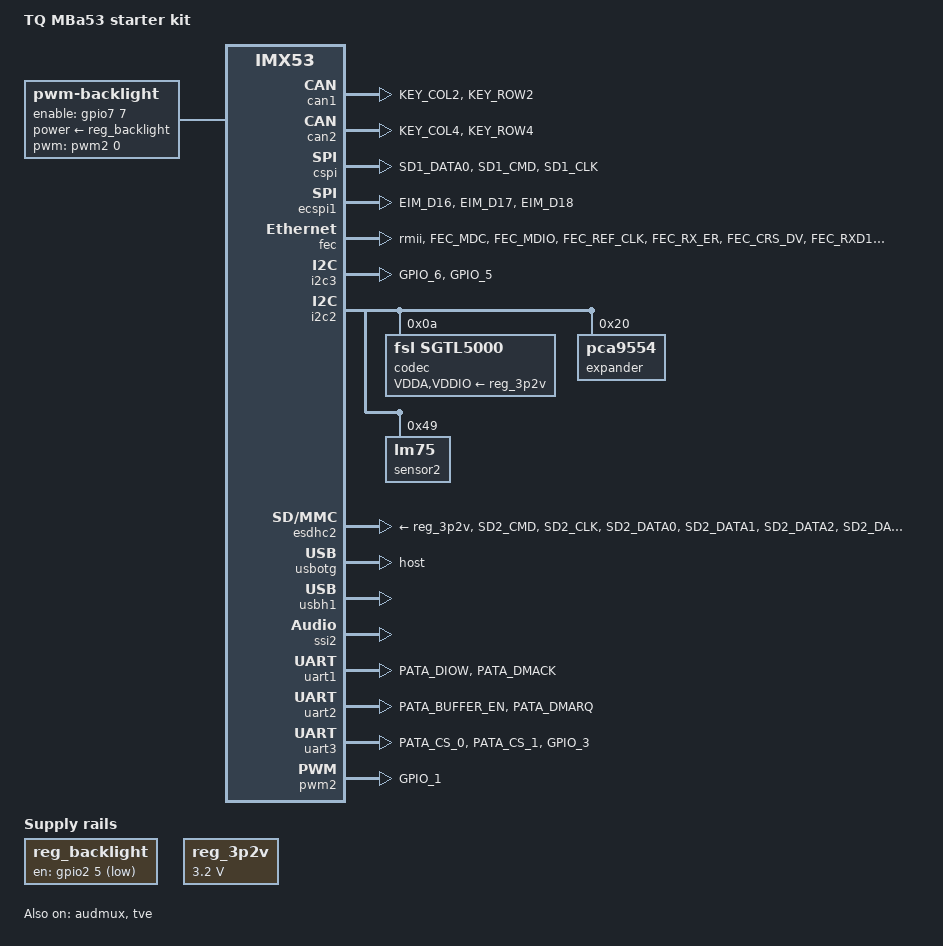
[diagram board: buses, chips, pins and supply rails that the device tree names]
/*
 * Copyright 2012 Sascha Hauer <s.hauer@pengutronix.de>, Pengutronix
 * Copyright 2012 Steffen Trumtrar <s.trumtrar@pengutronix.de>, Pengutronix
 *
 * The code contained herein is licensed under the GNU General Public
 * License. You may obtain a copy of the GNU General Public License
 * Version 2 or later at the following locations:
 *
 * http://www.opensource.org/licenses/gpl-license.html
 * http://www.gnu.org/copyleft/gpl.html
 */

/dts-v1/;
#include "imx53-tqma53.dtsi"

/ {
	model = "TQ MBa53 starter kit";
	compatible = "tq,mba53", "tq,tqma53", "fsl,imx53";

	aliases {
		mmc0 = &esdhc3; /* eMMC */
		mmc1 = &esdhc2; /* SD */
	};

	chosen {
		stdout-path = &uart2;
	};

	backlight {
		compatible = "pwm-backlight";
		pwms = <&pwm2 0 50000>;
		brightness-levels = <0 24 28 32 36 40 44 48 52 56 60 64 68 72 76 80 84 88 92 96 100>;
		default-brightness-level = <10>;
		enable-gpios = <&gpio7 7 0>;
		power-supply = <&reg_backlight>;
	};

	disp1: display@disp1 {
		compatible = "fsl,imx-parallel-display";
		pinctrl-names = "default";
		pinctrl-0 = <&pinctrl_disp1_1>;
		interface-pix-fmt = "rgb24";
		status = "disabled";

		port {
			display1_in: endpoint {
				remote-endpoint = <&ipu_di1_disp1>;
			};
		};
	};

	regulators {
		compatible = "simple-bus";
		#address-cells = <1>;
		#size-cells = <0>;

		reg_backlight: regulator@0 {
			compatible = "regulator-fixed";
			reg = <0>;
			regulator-name = "lcd-supply";
			gpio = <&gpio2 5 0>;
			startup-delay-us = <5000>;
		};

		reg_3p2v: regulator@1 {
			compatible = "regulator-fixed";
			reg = <1>;
			regulator-name = "3P2V";
			regulator-min-microvolt = <3200000>;
			regulator-max-microvolt = <3200000>;
			regulator-always-on;
		};
	};

	sound {
		compatible = "tq,imx53-mba53-sgtl5000",
			     "fsl,imx-audio-sgtl5000";
		model = "imx53-mba53-sgtl5000";
		ssi-controller = <&ssi2>;
		audio-codec = <&codec>;
		audio-routing =
			"MIC_IN", "Mic Jack",
			"Mic Jack", "Mic Bias",
			"Headphone Jack", "HP_OUT";
		mux-int-port = <2>;
		mux-ext-port = <5>;
	};
};

&can1 {
	pinctrl-names = "default";
	pinctrl-0 = <&pinctrl_can1>;
	status = "okay";
};

&can2 {
	pinctrl-names = "default";
	pinctrl-0 = <&pinctrl_can2>;
	status = "okay";
};

&cspi {
	pinctrl-names = "default";
	pinctrl-0 = <&pinctrl_cspi>;
	fsl,spi-num-chipselects = <3>;
	cs-gpios = <&gpio1 18 0>, <&gpio1 19 0>,
		   <&gpio1 21 0>;
	status = "okay";
};

&ecspi1 {
	pinctrl-names = "default";
	pinctrl-0 = <&pinctrl_ecspi1>;
	fsl,spi-num-chipselects = <4>;
	cs-gpios = <&gpio2 30 0>, <&gpio3 19 0>,
		   <&gpio3 24 0>, <&gpio3 25 0>;
	status = "okay";
};

&fec {
	pinctrl-names = "default";
	pinctrl-0 = <&pinctrl_fec>;
	phy-mode = "rmii";
	phy-reset-gpios = <&gpio7 6 0>;
	status = "okay";
};

&ldb {
	pinctrl-names = "default";
	pinctrl-0 = <&pinctrl_lvds1_1>;
	status = "disabled";
};

&i2c3 {
	pinctrl-names = "default";
	pinctrl-0 = <&pinctrl_i2c3>;
	status = "okay";
};

&iomuxc {
	pinctrl-names = "default";
	pinctrl-0 = <&pinctrl_hog>;

	imx53-mba53 {
		pinctrl_hog: hoggrp {
			fsl,pins = <
				 MX53_PAD_GPIO_0__CCM_SSI_EXT1_CLK 0x80000000 /* SSI_MCLK */
				 MX53_PAD_PATA_DA_1__GPIO7_7     0x80000000 /* LCD_BLT_EN */
				 MX53_PAD_PATA_DA_2__GPIO7_8     0x80000000 /* LCD_RESET */
				 MX53_PAD_PATA_DATA5__GPIO2_5    0x80000000 /* LCD_POWER */
				 MX53_PAD_PATA_DATA14__GPIO2_14  0x80000000 /* CSI_RST */
				 MX53_PAD_PATA_DATA15__GPIO2_15  0x80000000 /* CSI_PWDN */
			>;
		};

		pinctrl_audmux: audmuxgrp {
			fsl,pins = <
				MX53_PAD_KEY_COL0__AUDMUX_AUD5_TXC	0x1e4
				MX53_PAD_KEY_ROW0__AUDMUX_AUD5_TXD	0x1e4
				MX53_PAD_KEY_COL1__AUDMUX_AUD5_TXFS	0x1e4
				MX53_PAD_KEY_ROW1__AUDMUX_AUD5_RXD	0x1e4
			>;
		};

		pinctrl_can1: can1grp {
			fsl,pins = <
				MX53_PAD_KEY_COL2__CAN1_TXCAN		0x1e4
				MX53_PAD_KEY_ROW2__CAN1_RXCAN		0x1e4
			>;
		};

		pinctrl_can2: can2grp {
			fsl,pins = <
				MX53_PAD_KEY_COL4__CAN2_TXCAN		0x1e4
				MX53_PAD_KEY_ROW4__CAN2_RXCAN		0x1e4
			>;
		};

		pinctrl_cspi: cspigrp {
			fsl,pins = <
				MX53_PAD_SD1_DATA0__CSPI_MISO		0x1d4
				MX53_PAD_SD1_CMD__CSPI_MOSI		0x1d4
				MX53_PAD_SD1_CLK__CSPI_SCLK		0x1d4
			>;
		};

		pinctrl_ecspi1: ecspi1grp {
			fsl,pins = <
				MX53_PAD_EIM_D16__ECSPI1_SCLK		0x1e4
				MX53_PAD_EIM_D17__ECSPI1_MISO		0x1e4
				MX53_PAD_EIM_D18__ECSPI1_MOSI		0x1e4
			>;
		};

		pinctrl_esdhc2: esdhc2grp {
			fsl,pins = <
				MX53_PAD_SD2_CMD__ESDHC2_CMD		0x1b4
				MX53_PAD_SD2_CLK__ESDHC2_CLK		0x0d4
				MX53_PAD_SD2_DATA0__ESDHC2_DAT0		0x1d4
				MX53_PAD_SD2_DATA1__ESDHC2_DAT1		0x1d4
				MX53_PAD_SD2_DATA2__ESDHC2_DAT2		0x1d4
				MX53_PAD_SD2_DATA3__ESDHC2_DAT3		0x1d4
			>;
		};

		pinctrl_esdhc2_cdwp: esdhc2cdwp {
			fsl,pins = <
				MX53_PAD_GPIO_4__GPIO1_4	0x80000000 /* SD2_CD */
				MX53_PAD_GPIO_2__GPIO1_2	0x80000000 /* SD2_WP */
			>;
		};

		pinctrl_fec: fecgrp {
			fsl,pins = <
				MX53_PAD_FEC_MDC__FEC_MDC		0x004
				MX53_PAD_FEC_MDIO__FEC_MDIO		0x1fc
				MX53_PAD_FEC_REF_CLK__FEC_TX_CLK	0x182
				MX53_PAD_FEC_RX_ER__FEC_RX_ER		0x1c0
				MX53_PAD_FEC_CRS_DV__FEC_RX_DV		0x180
				MX53_PAD_FEC_RXD1__FEC_RDATA_1		0x180
				MX53_PAD_FEC_RXD0__FEC_RDATA_0		0x180
				MX53_PAD_FEC_TX_EN__FEC_TX_EN		0x002
				MX53_PAD_FEC_TXD1__FEC_TDATA_1		0x002
				MX53_PAD_FEC_TXD0__FEC_TDATA_0		0x002
				MX53_PAD_PATA_DA_0__GPIO7_6	 	0x102 /* #PHY_RESET */
				MX53_PAD_PATA_DATA7__GPIO2_7	 	0x100 /* #PHY_INT */
			>;
		};

		pinctrl_i2c3: i2c3grp {
			fsl,pins = <
				MX53_PAD_GPIO_6__I2C3_SDA		0x400001ee
				MX53_PAD_GPIO_5__I2C3_SCL		0x400001ee
			>;
		};

		pinctrl_uart1: uart1grp {
			fsl,pins = <
				MX53_PAD_PATA_DIOW__UART1_TXD_MUX	0x1e4
				MX53_PAD_PATA_DMACK__UART1_RXD_MUX	0x1e4
			>;
		};

		pinctrl_uart2: uart2grp {
			fsl,pins = <
				MX53_PAD_PATA_BUFFER_EN__UART2_RXD_MUX	0x1e4
				MX53_PAD_PATA_DMARQ__UART2_TXD_MUX	0x1e4
			>;
		};

		pinctrl_uart3: uart3grp {
			fsl,pins = <
				MX53_PAD_PATA_CS_0__UART3_TXD_MUX	0x1e4
				MX53_PAD_PATA_CS_1__UART3_RXD_MUX	0x1e4
				MX53_PAD_GPIO_3__GPIO1_3		0x1e4
			>;
		};
	};

	lvds1 {
		pinctrl_lvds1_1: lvds1-grp1 {
			fsl,pins = <
				MX53_PAD_LVDS0_TX3_P__LDB_LVDS0_TX3 0x80000000
				MX53_PAD_LVDS0_CLK_P__LDB_LVDS0_CLK 0x80000000
				MX53_PAD_LVDS0_TX2_P__LDB_LVDS0_TX2 0x80000000
				MX53_PAD_LVDS0_TX1_P__LDB_LVDS0_TX1 0x80000000
				MX53_PAD_LVDS0_TX0_P__LDB_LVDS0_TX0 0x80000000
			>;
		};

		pinctrl_lvds1_2: lvds1-grp2 {
			fsl,pins = <
				MX53_PAD_LVDS1_TX3_P__LDB_LVDS1_TX3 0x80000000
				MX53_PAD_LVDS1_TX2_P__LDB_LVDS1_TX2 0x80000000
				MX53_PAD_LVDS1_CLK_P__LDB_LVDS1_CLK 0x80000000
				MX53_PAD_LVDS1_TX1_P__LDB_LVDS1_TX1 0x80000000
				MX53_PAD_LVDS1_TX0_P__LDB_LVDS1_TX0 0x80000000
			>;
		};
	};

	disp1 {
		pinctrl_disp1_1: disp1-grp1 {
			fsl,pins = <
				MX53_PAD_EIM_A16__IPU_DI1_DISP_CLK 0x80000000 /* DISP1_CLK */
				MX53_PAD_EIM_DA10__IPU_DI1_PIN15   0x80000000 /* DISP1_DRDY */
				MX53_PAD_EIM_D23__IPU_DI1_PIN2     0x80000000 /* DISP1_HSYNC */
				MX53_PAD_EIM_EB3__IPU_DI1_PIN3     0x80000000 /* DISP1_VSYNC */
				MX53_PAD_EIM_D26__IPU_DISP1_DAT_22 0x80000000
				MX53_PAD_EIM_D27__IPU_DISP1_DAT_23 0x80000000
				MX53_PAD_EIM_D30__IPU_DISP1_DAT_21 0x80000000
				MX53_PAD_EIM_D31__IPU_DISP1_DAT_20 0x80000000
				MX53_PAD_EIM_A24__IPU_DISP1_DAT_19 0x80000000
				MX53_PAD_EIM_A23__IPU_DISP1_DAT_18 0x80000000
				MX53_PAD_EIM_A22__IPU_DISP1_DAT_17 0x80000000
				MX53_PAD_EIM_A21__IPU_DISP1_DAT_16 0x80000000
				MX53_PAD_EIM_A20__IPU_DISP1_DAT_15 0x80000000
				MX53_PAD_EIM_A19__IPU_DISP1_DAT_14 0x80000000
				MX53_PAD_EIM_A18__IPU_DISP1_DAT_13 0x80000000
				MX53_PAD_EIM_A17__IPU_DISP1_DAT_12 0x80000000
				MX53_PAD_EIM_EB0__IPU_DISP1_DAT_11 0x80000000
				MX53_PAD_EIM_EB1__IPU_DISP1_DAT_10 0x80000000
				MX53_PAD_EIM_DA0__IPU_DISP1_DAT_9  0x80000000
				MX53_PAD_EIM_DA1__IPU_DISP1_DAT_8  0x80000000
				MX53_PAD_EIM_DA2__IPU_DISP1_DAT_7  0x80000000
				MX53_PAD_EIM_DA3__IPU_DISP1_DAT_6  0x80000000
				MX53_PAD_EIM_DA4__IPU_DISP1_DAT_5  0x80000000
				MX53_PAD_EIM_DA5__IPU_DISP1_DAT_4  0x80000000
				MX53_PAD_EIM_DA6__IPU_DISP1_DAT_3  0x80000000
				MX53_PAD_EIM_DA7__IPU_DISP1_DAT_2  0x80000000
				MX53_PAD_EIM_DA8__IPU_DISP1_DAT_1  0x80000000
				MX53_PAD_EIM_DA9__IPU_DISP1_DAT_0  0x80000000
			>;
		};
	};

	pwm2 {
		pinctrl_pwm2: pwm2-grp1 {
			fsl,pins = <
				MX53_PAD_GPIO_1__PWM2_PWMO 0x00000102 /* HYS */
			>;
		};
	};

	tve {
		pinctrl_vga_sync_1: vgasync-grp1 {
			fsl,pins = <
				/* VGA_VSYNC, HSYNC with max drive strength */
				MX53_PAD_EIM_CS1__IPU_DI1_PIN6	   0xe6
				MX53_PAD_EIM_DA15__IPU_DI1_PIN4	   0xe6
			>;
		};
	};
};

&ipu_di1_disp1 {
	remote-endpoint = <&display1_in>;
};

&audmux {
	status = "okay";
	pinctrl-names = "default";
	pinctrl-0 = <&pinctrl_audmux>;
};

&i2c2 {
	codec: sgtl5000@a {
		compatible = "fsl,sgtl5000";
		reg = <0x0a>;
		clocks = <&clks IMX5_CLK_SSI_EXT1_GATE>;
		VDDA-supply = <&reg_3p2v>;
		VDDIO-supply = <&reg_3p2v>;
	};

	expander: pca9554@20 {
		compatible = "pca9554";
		reg = <0x20>;
		interrupts = <109>;
		#gpio-cells = <2>;
		gpio-controller;
	};

	sensor2: lm75@49 {
		compatible = "lm75";
		reg = <0x49>;
	};
};

&esdhc2 {
	pinctrl-names = "default";
	pinctrl-0 = <&pinctrl_esdhc2>,
		    <&pinctrl_esdhc2_cdwp>;
	vmmc-supply = <&reg_3p2v>;
	wp-gpios = <&gpio1 2 GPIO_ACTIVE_HIGH>;
	cd-gpios = <&gpio1 4 GPIO_ACTIVE_LOW>;
	status = "okay";
};

&usbotg {
	dr_mode = "host";
	status = "okay";
};

&usbh1 {
	status = "okay";
};

&ssi2 {
	status = "okay";
};

&uart1 {
	pinctrl-names = "default";
	pinctrl-0 = <&pinctrl_uart1>;
	status = "okay";
};

&uart2 {
	pinctrl-names = "default";
	pinctrl-0 = <&pinctrl_uart2>;
	status = "okay";
};

&uart3 {
	pinctrl-names = "default";
	pinctrl-0 = <&pinctrl_uart3>;
	status = "okay";
};

&pwm2 {
	pinctrl-names = "default";
	pinctrl-0 = <&pinctrl_pwm2>;
	status = "okay";
};

&tve {
	pinctrl-names = "default";
	pinctrl-0 = <&pinctrl_vga_sync_1>;
	ddc-i2c-bus = <&i2c3>;
	fsl,tve-mode = "vga";
	fsl,hsync-pin = <4>;
	fsl,vsync-pin = <6>;
	status = "okay";
};
